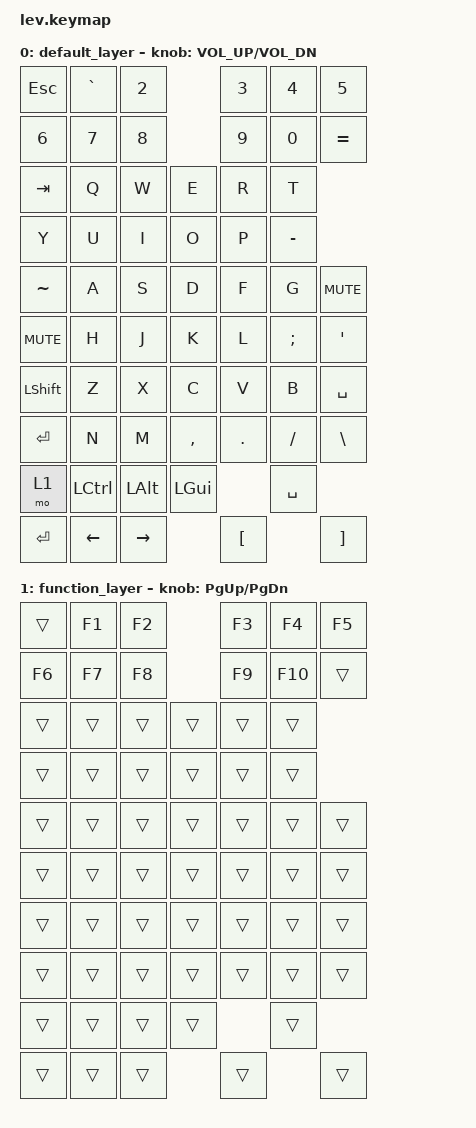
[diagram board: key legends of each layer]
#include <behaviors.dtsi>
#include <dt-bindings/zmk/keys.h>
#include <dt-bindings/zmk/bt.h>

/ {
    keymap {
        compatible = "zmk,keymap";

        default_layer {
            /*
             * Keymap follows the legends in the supplied photo.
             * Unlabelled thumb keys are assigned SPACE (left) and ENTER (right)
             * as practical defaults; encoder pushes are MUTE.
             */
            bindings = <
                /* number row */
                &kp ESC   &kp GRAVE &kp N2 &kp N3 &kp N4 &kp N5
                &kp N6    &kp N7    &kp N8 &kp N9 &kp N0 &kp EQUAL

                /* QWERTY row */
                &kp TAB   &kp Q &kp W &kp E &kp R &kp T
                &kp Y     &kp U &kp I &kp O &kp P &kp MINUS

                /* home row + encoder pushes */
                &kp TILDE &kp A &kp S &kp D &kp F &kp G &kp C_MUTE
                &kp C_MUTE &kp H &kp J &kp K &kp L &kp SEMI &kp SQT

                /* lower alpha row + upper thumb keys */
                &kp LSHFT &kp Z &kp X &kp C &kp V &kp B &kp SPACE
                &kp ENTER &kp N &kp M &kp COMMA &kp DOT &kp FSLH &kp BSLH

                /* bottom / thumb row */
                &mo 1 &kp LCTRL &kp LALT &kp LGUI &kp SPACE
                &kp ENTER &kp LEFT &kp RIGHT &kp LBKT &kp RBKT
            >;
            sensor-bindings = <&inc_dec_kp C_VOL_UP C_VOL_DN>;
        };

        function_layer {
            bindings = <
                /* Keep the photographed number row useful as F-keys on Layer. */
                &trans &kp F1 &kp F2 &kp F3 &kp F4 &kp F5
                &kp F6 &kp F7 &kp F8 &kp F9 &kp F10 &trans

                &trans &trans &trans &trans &trans &trans
                &trans &trans &trans &trans &trans &trans

                &trans &trans &trans &trans &trans &trans &trans
                &trans &trans &trans &trans &trans &trans &trans

                &trans &trans &trans &trans &trans &trans &trans
                &trans &trans &trans &trans &trans &trans &trans

                &trans &trans &trans &trans &trans
                &trans &trans &trans &trans &trans
            >;
            sensor-bindings = <&inc_dec_kp PG_UP PG_DN>;
        };
    };
};
